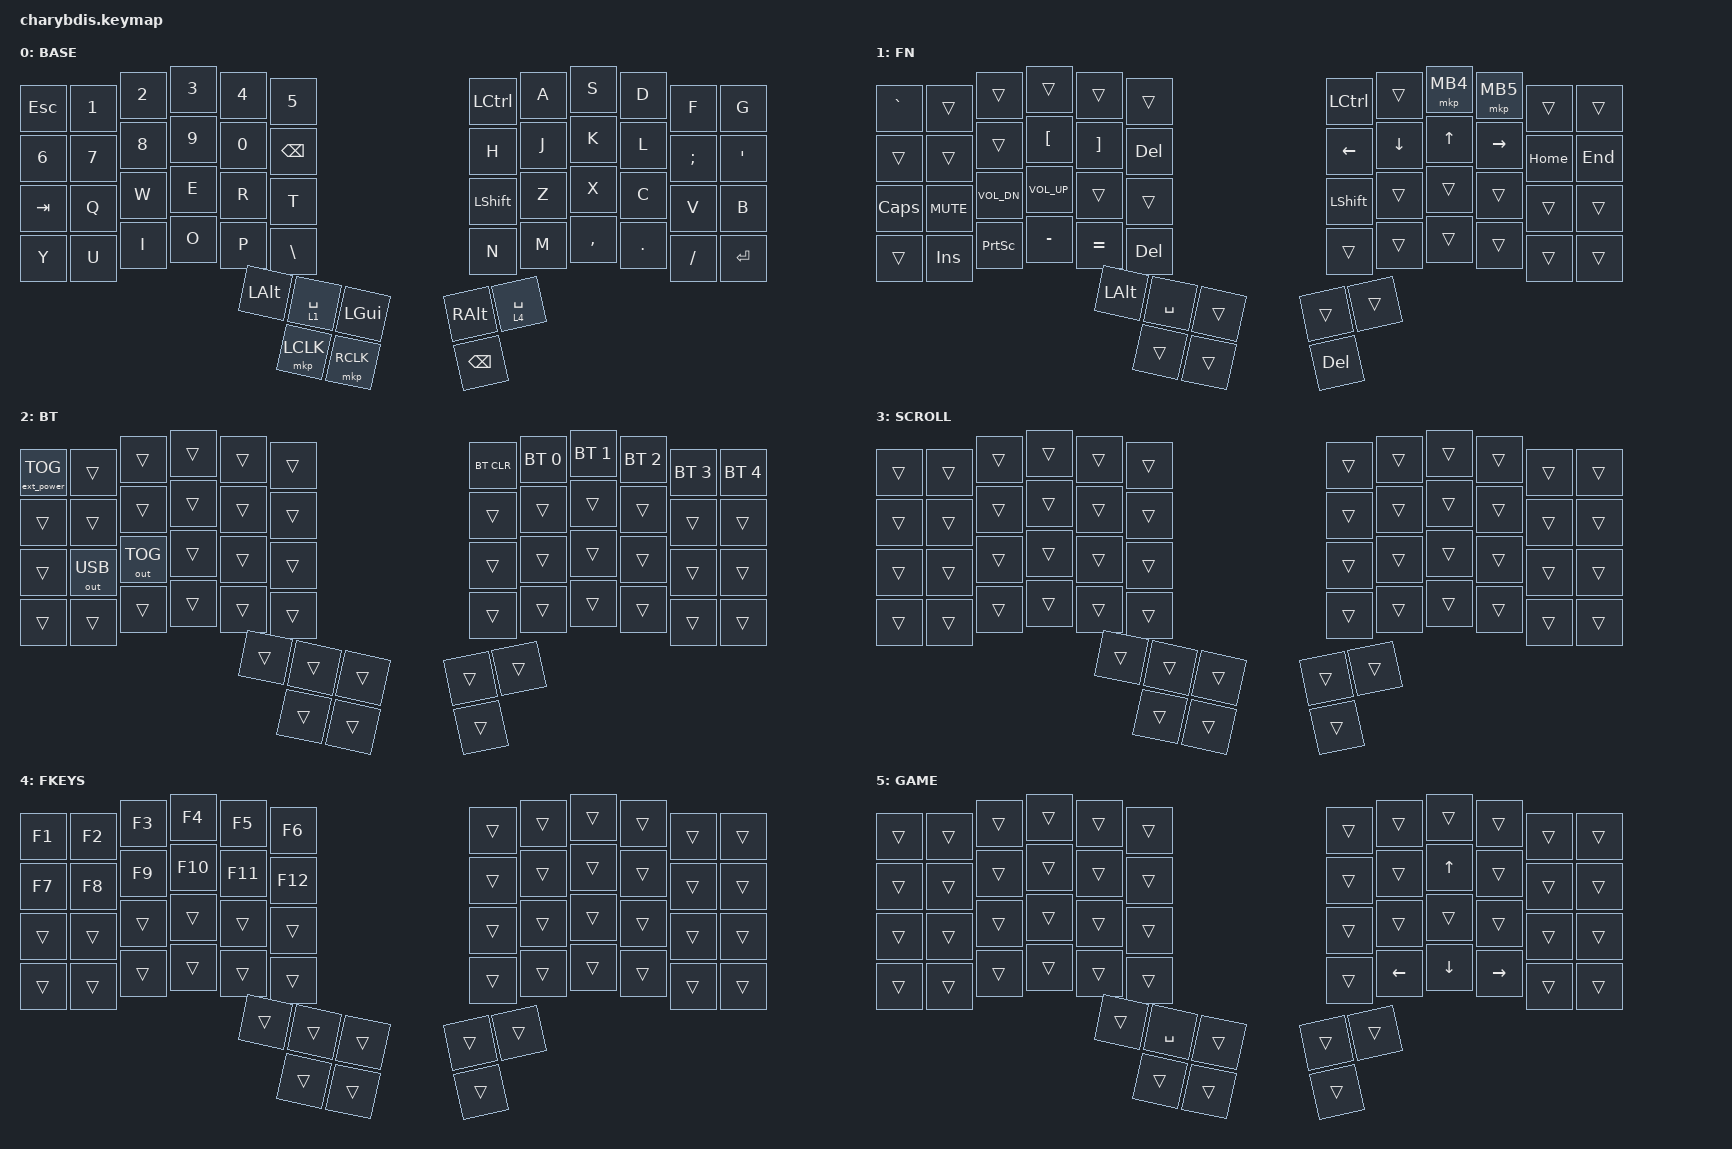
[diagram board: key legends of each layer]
#include <behaviors/mouse_keys.dtsi>
#include <behaviors.dtsi>
#include <dt-bindings/zmk/bt.h>
#include <dt-bindings/zmk/ext_power.h>
#include <dt-bindings/zmk/outputs.h>
#include <dt-bindings/zmk/keys.h>
#include <dt-bindings/zmk/mouse.h>
#include <dt-bindings/zmk/pointing.h>

// Layer definitions
// 0: BASE    - QWERTY (from HHKB)
// 1: FN      - arrows, nav, symbols + trackball scroll (activated by holding left space)
// 2: BT      - bluetooth management
// 3: SCROLL  - trackball scroll
// 4: FKEYS   - F1-F12 (activated by holding right space)
// 5: GAME    - gaming mode (toggle: both spaces; K/M/,/. as arrows)

/ {
    behaviors {
        lspc: left_space_scroll {
            compatible = "zmk,behavior-hold-tap";
            #binding-cells = <2>;
            tapping-term-ms = <200>;
            flavor = "tap-preferred";
            bindings = <&mo>, <&kp>;
        };
    };

    /* Trackball: mouse move on base layer */

    trackball_listener {
        compatible = "zmk,input-behavior-listener";
        device = <&vtrackball>;
        layers = <0>;
        evt-type = <INPUT_EV_REL>;
        x-input-code = <INPUT_REL_X>;
        y-input-code = <INPUT_REL_Y>;
        x-invert;
        y-invert;
        scale-multiplier = <1>;
        scale-divisor = <2>;
    };

    /* Trackball: scroll mode on FN and SCROLL layers */

    trackball_scroll_listener {
        compatible = "zmk,input-behavior-listener";
        device = <&vtrackball>;
        layers = <1 3>;
        evt-type = <INPUT_EV_REL>;
        x-input-code = <INPUT_REL_MISC>;
        y-input-code = <INPUT_REL_WHEEL>;
        y-invert;
        bindings = <&ib_wheel_scaler 1 14>;
    };

    ib_wheel_scaler: ib_wheel_scaler {
        compatible = "zmk,input-behavior-scaler";
        #binding-cells = <2>;
        evt-type = <INPUT_EV_REL>;
        input-code = <INPUT_REL_WHEEL>;
    };

    combos {
        compatible = "zmk,combos";

        to-BT {
            bindings = <&mo 2>;
            key-positions = <41 42>;
            layers = <0 1>;
        };

        game_toggle {
            bindings = <&tog 5>;
            key-positions = <49 52>;
            layers = <0 5>;
            timeout-ms = <100>;
        };

    };

    keymap {
        compatible = "zmk,keymap";

        default_layer {
            label = "BASE";
            bindings = <
&kp ESCAPE  &kp N1  &kp N2  &kp N3    &kp N4           &kp N5       &kp N6    &kp N7     &kp N8     &kp N9    &kp N0    &kp BSPC
&kp TAB     &kp Q   &kp W   &kp E     &kp R            &kp T        &kp Y     &kp U      &kp I      &kp O     &kp P     &kp BSLH
&kp LCTRL   &kp A   &kp S   &kp D     &kp F            &kp G        &kp H     &kp J      &kp K      &kp L     &kp SEMI  &kp SQT
&kp LSHFT   &kp Z   &kp X   &kp C     &kp V            &kp B        &kp N     &kp M      &kp COMMA  &kp DOT   &kp FSLH  &kp RET
                             &kp LALT  &lspc 1 SPACE    &kp LGUI     &kp RALT  &lspc 4 SPACE
                                       &mkp LCLK        &mkp RCLK    &kp BSPC
            >;
        };

        fn_layer {
            label = "FN";
            bindings = <
&kp GRAVE  &trans      &trans        &trans        &trans  &trans     &trans    &trans     &trans     &kp LBKT   &kp RBKT   &kp DEL
&kp CAPS   &kp C_MUTE  &kp C_VOL_DN  &kp C_VOL_UP  &trans  &trans     &trans    &kp INS    &kp PSCRN  &kp MINUS  &kp EQUAL  &kp DEL
&kp LCTRL  &trans      &mkp MB4      &mkp MB5      &trans  &trans     &kp LEFT  &kp DOWN  &kp UP     &kp RIGHT  &kp HOME   &kp END
&kp LSHFT  &trans      &trans        &trans        &trans  &trans     &trans    &trans    &trans     &trans     &trans     &trans
                            &kp LALT  &kp SPACE  &trans        &trans    &trans
                                      &trans     &trans        &kp DEL
            >;
        };

        bt_layer {
            label = "BT";
            bindings = <
&ext_power EP_TOG  &trans        &trans        &trans        &trans        &trans          &trans  &trans  &trans  &trans  &trans  &trans
&trans             &out OUT_USB  &out OUT_TOG  &trans        &trans        &trans          &trans  &trans  &trans  &trans  &trans  &trans
&bt BT_CLR         &bt BT_SEL 0  &bt BT_SEL 1  &bt BT_SEL 2  &bt BT_SEL 3  &bt BT_SEL 4    &trans  &trans  &trans  &trans  &trans  &trans
&trans             &trans        &trans        &trans        &trans        &trans          &trans  &trans  &trans  &trans  &trans  &trans
                                               &trans        &trans        &trans          &trans  &trans
                                                             &trans        &trans          &trans
            >;
        };

        scroll_layer {
            label = "SCROLL";
            bindings = <
&trans  &trans  &trans  &trans  &trans  &trans    &trans  &trans  &trans  &trans  &trans  &trans
&trans  &trans  &trans  &trans  &trans  &trans    &trans  &trans  &trans  &trans  &trans  &trans
&trans  &trans  &trans  &trans  &trans  &trans    &trans  &trans  &trans  &trans  &trans  &trans
&trans  &trans  &trans  &trans  &trans  &trans    &trans  &trans  &trans  &trans  &trans  &trans
                        &trans  &trans  &trans    &trans  &trans
                                &trans  &trans    &trans
            >;
        };

        fkeys_layer {
            label = "FKEYS";
            bindings = <
&kp F1  &kp F2  &kp F3  &kp F4  &kp F5  &kp F6    &kp F7  &kp F8  &kp F9  &kp F10  &kp F11  &kp F12
&trans  &trans  &trans  &trans  &trans  &trans    &trans  &trans  &trans  &trans   &trans   &trans
&trans  &trans  &trans  &trans  &trans  &trans    &trans  &trans  &trans  &trans   &trans   &trans
&trans  &trans  &trans  &trans  &trans  &trans    &trans  &trans  &trans  &trans   &trans   &trans
                        &trans  &trans  &trans    &trans  &trans
                                &trans  &trans    &trans
            >;
        };

        game_layer {
            label = "GAME";
            bindings = <
&trans  &trans  &trans  &trans  &trans  &trans    &trans    &trans    &trans     &trans     &trans  &trans
&trans  &trans  &trans  &trans  &trans  &trans    &trans    &trans    &trans     &trans     &trans  &trans
&trans  &trans  &trans  &trans  &trans  &trans    &trans    &trans    &kp UP     &trans     &trans  &trans
&trans  &trans  &trans  &trans  &trans  &trans    &trans    &kp LEFT  &kp DOWN   &kp RIGHT  &trans  &trans
                        &trans  &kp SPACE  &trans    &trans    &trans
                                &trans     &trans    &trans
            >;
        };
    };
};
